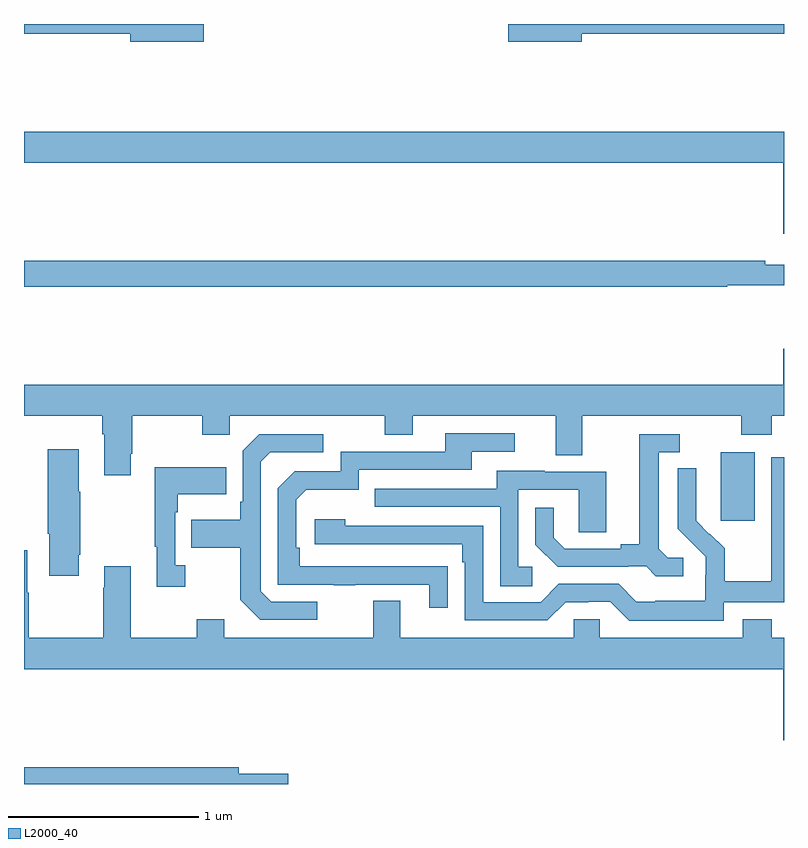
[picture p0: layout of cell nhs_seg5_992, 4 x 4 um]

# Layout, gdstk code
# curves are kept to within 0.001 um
import gdstk
lib = gdstk.Library(unit=1e-6, precision=1e-09)
def R(c, l, rs):  # rectangles x0, y0, x1, y1
    for r in rs: c.add(gdstk.rectangle(r[:2], r[2:], *l))
def P(c, l, *ps):  # polygons
    for p in ps: c.add(gdstk.Polygon(p, *l))
L2000_40 = (2000, 40)

nhs_seg5_992 = lib.new_cell('nhs_seg5_992')
R(nhs_seg5_992, L2000_40, [(176.666,880.185,176.845,880.546)])
P(nhs_seg5_992, L2000_40, [(173.947,882.799),(173,882.799),(173,882.748),(173.558,882.748),(173.558,882.706),(173.947,882.706)],
  [(175.936,882.748),(177,882.748),(177,882.799),(175.548,882.799),(175.548,882.706),(175.936,882.706)],
  [(177,882.232),(173,882.232),(173,882.068),(176.996,882.068),(176.996,881.694),(177,881.694)],
  [(176.702,881.424),(177,881.424),(177,881.533),(176.9,881.533),(176.9,881.552),(173,881.552),(173,881.416),(176.702,881.416)],
  [(173.563,880.537),(173.571,880.537),(173.571,880.736),(173.938,880.736),(173.938,880.637),(174.084,880.637),(174.084,880.736),(174.898,880.736),(174.898,880.637),(175.045,880.637),(175.045,880.736),(175.799,880.736),(175.799,880.528),(175.939,880.528),(175.939,880.736),(176.776,880.736),(176.776,880.637),(176.936,880.637),(176.936,880.736),(177,880.736),(177,881.089),(176.996,881.089),(176.996,880.9),(173,880.9),(173,880.736),(173.411,880.736),(173.411,880.64),(173.423,880.64),(173.423,880.425),(173.563,880.425)],
  [(175.229,879.944),(174.452,879.945),(174.452,880.042),(174.432,880.042),(174.432,880.296),(174.485,880.349),(174.762,880.349),(174.762,880.452),(175.357,880.452),(175.357,880.548),(175.582,880.548),(175.582,880.644),(175.217,880.644),(175.217,880.548),(174.666,880.548),(174.666,880.446),(174.426,880.446),(174.336,880.356),(174.336,879.849),(174.631,879.849),(174.631,879.844),(174.743,879.844),(174.743,879.849),(175.133,879.849),(175.133,879.726),(175.229,879.726)],
  [(174.544,879.759),(174.3,879.759),(174.246,879.813),(174.246,880.494),(174.297,880.545),(174.574,880.545),(174.574,880.641),(174.237,880.641),(174.15,880.554),(174.15,880.285),(174.138,880.285),(174.138,880.189),(173.881,880.189),(173.881,880.042),(174.138,880.042),(174.138,879.769),(174.243,879.663),(174.544,879.663)],
  [(176.47,879.99),(176.388,879.99),(176.341,880.037),(176.341,880.545),(176.452,880.545),(176.452,880.641),(176.237,880.641),(176.237,880.061),(176.141,880.061),(176.141,880.038),(175.846,880.038),(175.789,880.095),(175.789,880.252),(175.692,880.252),(175.692,880.058),(175.808,879.942),(176.18,879.942),(176.18,879.945),(176.274,879.945),(176.326,879.893),(176.47,879.893)],
  [(173.287,880.006),(173.295,880.006),(173.295,880.337),(173.287,880.337),(173.287,880.561),(173.125,880.561),(173.125,880.117),(173.132,880.117),(173.132,879.894),(173.287,879.894)],
  [(176.682,879.756),(177,879.756),(177,880.518),(176.934,880.518),(176.934,880.088),(176.932,880.088),(176.932,879.865),(176.687,879.865),(176.687,880.039),(176.61,880.116),(176.607,880.113),(176.537,880.184),(176.538,880.46),(176.442,880.46),(176.442,880.142),(176.588,879.994),(176.588,879.897),(176.586,879.897),(176.586,879.763),(176.323,879.763),(176.323,879.759),(176.223,879.759),(176.13,879.852),(175.815,879.852),(175.719,879.756),(175.416,879.756),(175.416,880.158),(174.692,880.158),(174.692,880.192),(174.531,880.192),(174.531,880.062),(175.307,880.062),(175.307,879.965),(175.32,879.965),(175.32,879.66),(175.755,879.66),(175.851,879.756),(175.97,879.756),(175.97,879.759),(176.085,879.759),(176.185,879.659),(176.682,879.659)],
  [(173.848,879.95),(173.796,879.95),(173.796,880.229),(173.809,880.229),(173.809,880.325),(174.065,880.325),(174.065,880.465),(173.688,880.465),(173.688,880.049),(173.699,880.049),(173.699,879.837),(173.848,879.837)],
  [(175.675,879.942),(175.602,879.942),(175.602,880.347),(175.92,880.347),(175.92,880.123),(176.065,880.123),(176.065,880.443),(175.741,880.443),(175.741,880.447),(175.487,880.447),(175.487,880.353),(174.847,880.353),(174.847,880.257),(175.506,880.257),(175.506,879.841),(175.675,879.841)],
  [(177,879.568),(176.936,879.568),(176.936,879.667),(176.783,879.667),(176.783,879.568),(176.031,879.568),(176.031,879.666),(175.893,879.666),(175.893,879.568),(174.979,879.568),(174.979,879.763),(174.839,879.763),(174.839,879.568),(174.055,879.568),(174.055,879.667),(173.908,879.667),(173.908,879.568),(173.563,879.568),(173.563,879.946),(173.423,879.946),(173.423,879.833),(173.416,879.833),(173.416,879.568),(173.025,879.568),(173.025,879.806),(173.017,879.806),(173.017,880.03),(173,880.03),(173,879.404),(176.996,879.404),(176.996,879.03),(177,879.03)],
  [(174.391,878.852),(174.13,878.852),(174.13,878.888),(173,878.888),(173,878.799),(174.391,878.799)])

lib.write_gds('nhs_seg5_992.gds')
